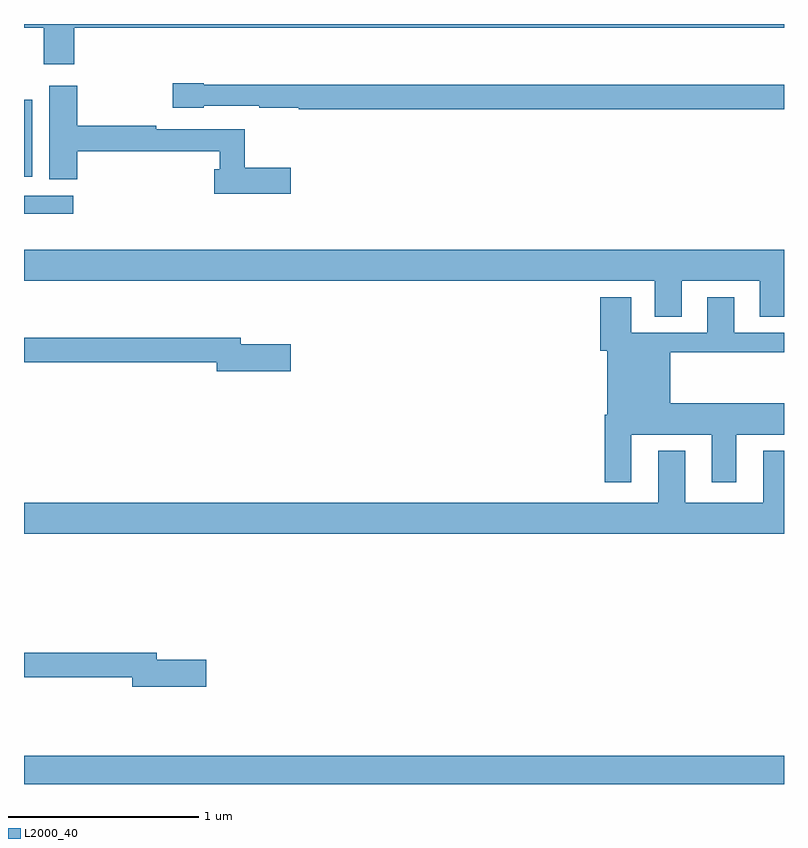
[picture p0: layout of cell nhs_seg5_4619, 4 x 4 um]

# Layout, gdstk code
import gdstk
lib = gdstk.Library(unit=1e-6, precision=1e-09)
def R(c, l, rs):  # rectangles x0, y0, x1, y1
    for r in rs: c.add(gdstk.rectangle(r[:2], r[2:], *l))
def P(c, l, *ps):  # polygons
    for p in ps: c.add(gdstk.Polygon(p, *l))
L2000_40 = (2000, 40)

nhs_seg5_4619 = lib.new_cell('nhs_seg5_4619')
R(nhs_seg5_4619, L2000_40, [(383,832.799,387,832.948), (383,835.8,383.26,835.896), (383,835.994,383.044,836.401)])
P(nhs_seg5_4619, L2000_40, [(383.264,836.78),(387,836.78),(387,836.799),(383,836.799),(383,836.78),(383.104,836.78),(383.104,836.586),(383.264,836.586)],
  [(387,836.479),(383.946,836.479),(383.946,836.487),(383.784,836.487),(383.784,836.357),(383.946,836.357),(383.946,836.37),(384.238,836.37),(384.238,836.358),(384.446,836.358),(384.446,836.35),(387,836.35)],
  [(384.403,836.043),(384.161,836.043),(384.161,836.244),(383.696,836.244),(383.696,836.264),(383.279,836.264),(383.279,836.473),(383.132,836.473),(383.132,835.981),(383.279,835.981),(383.279,836.128),(384.029,836.128),(384.029,836.035),(384.002,836.035),(384.002,835.906),(384.403,835.906)],
  [(386.461,835.448),(386.873,835.448),(386.873,835.258),(387,835.258),(387,835.612),(383,835.612),(383,835.448),(386.321,835.448),(386.321,835.258),(386.461,835.258)],
  [(386.197,834.638),(386.621,834.638),(386.621,834.387),(386.749,834.387),(386.749,834.638),(387,834.638),(387,834.802),(386.401,834.802),(386.401,835.072),(387,835.072),(387,835.173),(386.737,835.173),(386.737,835.36),(386.597,835.36),(386.597,835.173),(386.197,835.173),(386.197,835.36),(386.033,835.36),(386.033,835.08),(386.069,835.08),(386.069,834.742),(386.057,834.742),(386.057,834.387),(386.197,834.387)],
  [(384.403,835.113),(384.142,835.113),(384.142,835.147),(383,835.147),(383,835.018),(384.014,835.018),(384.014,834.971),(384.403,834.971)],
  [(387,834.553),(386.891,834.553),(386.891,834.28),(386.479,834.28),(386.479,834.553),(386.339,834.553),(386.339,834.28),(383,834.28),(383,834.116),(387,834.116)],
  [(383.959,833.453),(383.698,833.453),(383.698,833.489),(383,833.489),(383,833.361),(383.57,833.361),(383.57,833.311),(383.959,833.311)])

lib.write_gds('nhs_seg5_4619.gds')
